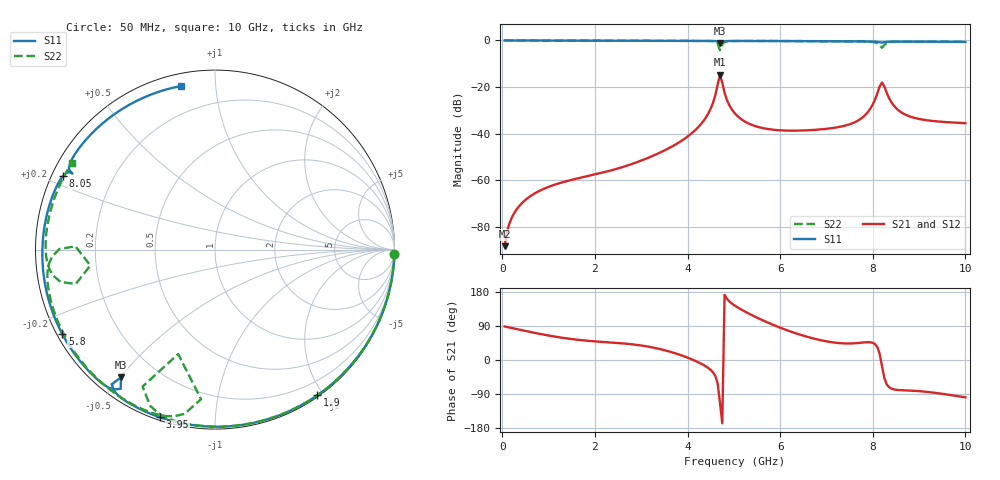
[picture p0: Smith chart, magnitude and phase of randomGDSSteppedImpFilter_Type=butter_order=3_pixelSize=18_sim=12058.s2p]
! freq	dB(S11)	phase(S11)	dB(S12)	phase(S12)
!  dB(S21)	phase(S21)	dB(S22)	phase(S22)
!S-par simulation data
#  GHz  S  DB  R 50
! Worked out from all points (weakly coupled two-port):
!   200 points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, 50 MHz to 10 GHz, reference 50 ohm
!   highest |S21| = -14.73 dB at 4.7 GHz (marker M1); lowest = -88.2 dB at 50 MHz (marker M2)
!   lowest |S11| = -1.1 dB at 4.7 GHz (marker M3), VSWR 16.25, Z = 3.86 - j25.2 ohm
!   |S11| at or under -10 dB: nowhere
!   |S22| runs from -4.2 to 0.0 dB; largest |S21 - S12| = 0
!   S11 on the Smith chart (normalised r, x): 50 MHz: 0, -76; 1.9 GHz: 0.02, -1.92; 3.95 GHz: 0.01, -0.72; 5.8 GHz: 0.01, -0.26; 8.05 GHz: 0.03, +0.23; 10 GHz: 0.06, +0.81
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0.05  -0.00 -1.5  -88.20 88.5  -88.20 88.5  -0.00 -1.3
0.65  -0.03 -19.2  -66.18 72.8  -66.18 72.8  -0.02 -16.1
1.75  -0.06 -50.8  -58.58 51.8  -58.58 51.8  -0.05 -42.6
1.9  -0.07 -54.9  -57.90 50.1  -57.90 50.1  -0.06 -46.2
3.4  -0.12 -94.5  -48.13 29.0  -48.13 29.0  -0.11 -80.3
3.95  -0.14 -108.2  -41.96 8.7  -41.96 8.7  -0.13 -92.5
4.45  -0.18 -120.8  -31.24 -21.3  -31.24 -21.3  -0.20 -105.1
4.65  -0.49 -127.5  -18.99 -61.3  -18.99 -61.3  -1.28 -117.9
4.7  -1.07 -126.3  -14.73 -112.1  -14.73 -112.1  -4.19 -109.4
4.75  -0.56 -124.1  -18.14 -167.0  -18.14 -167.0  -1.55 -95.3
4.8  -0.32 -126.1  -22.46 172.0  -22.46 172.0  -0.62 -100.5
5.05  -0.21 -133.3  -31.87 141.2  -31.87 141.2  -0.22 -111.1
5.8  -0.24 -151.0  -38.16 95.2  -38.16 95.2  -0.22 -127.7
6.7  -0.31 -172.0  -38.40 57.4  -38.40 57.4  -0.28 -145.6
7.6  -0.39 166.3  -35.18 44.0  -35.18 44.0  -0.39 -164.2
7.85  -0.43 159.9  -31.70 46.8  -31.70 46.8  -0.47 -170.3
8.05  -0.52 154.3  -25.29 41.7  -25.29 41.7  -0.84 -177.5
8.15  -0.78 151.6  -19.64 15.7  -19.64 15.7  -2.18 178.6
8.2  -0.91 151.9  -18.05 -16.8  -18.05 -16.8  -3.10 -172.7
8.35  -0.54 149.0  -24.64 -71.6  -24.64 -71.6  -0.80 -170.8
8.8  -0.51 136.3  -32.59 -80.6  -32.59 -80.6  -0.50 175.7
10  -0.62 101.7  -35.47 -98.6  -35.47 -98.6  -0.61 148.7
